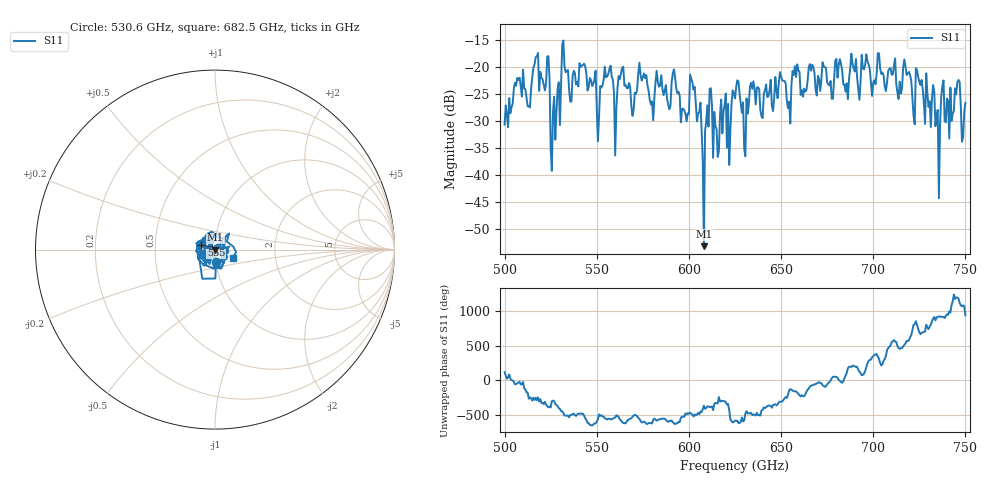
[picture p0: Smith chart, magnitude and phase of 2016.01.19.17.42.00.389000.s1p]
!Created with skrf (http://scikit-rf.org).
# GHz S RI R 50.0
!freq ReS11 ImS11
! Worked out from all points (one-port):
!   401 points, 500 GHz to 750 GHz, reference 50 ohm
!   lowest |S11| = -53.1 dB at 608.1 GHz (marker M1), VSWR 1.00, Z = 50.2 - j0.0308 ohm
!   |S11| at or under -10 dB: start of sweep to end of sweep
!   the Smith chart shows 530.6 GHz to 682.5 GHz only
!   S11 on the Smith chart (normalised r, x): 530.6 GHz: 1.00, -0.14; 555 GHz: 0.86, +0.04; 682.5 GHz: 1.21, -0.11
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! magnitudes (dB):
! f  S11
! 500 GHz  -30.6
! 506.9 GHz  -22.0
! 513.1 GHz  -27.2
! 516.9 GHz  -18.1
! 523.1 GHz  -18.0
! 526.2 GHz  -28.3
! 530.6 GHz  -23.4
! 531.2 GHz  -15.9
! 551.2 GHz  -29.0
! 555 GHz  -21.9
! 560 GHz  -36.3
! 562.5 GHz  -22.2
! 593.8 GHz  -24.8
! 598.8 GHz  -30.0
! 601.9 GHz  -22.8
! 608.1 GHz  -53.1
! 611.2 GHz  -24.0
! 621.9 GHz  -38.1
! 625 GHz  -25.8
! 629.4 GHz  -26.5
! 634.4 GHz  -24.0
! 656.2 GHz  -20.7
! 682.5 GHz  -19.3
! 687.5 GHz  -20.3
! 718.8 GHz  -21.1
! 735 GHz  -27.9
! 745.6 GHz  -22.8
! 750 GHz  -26.6
